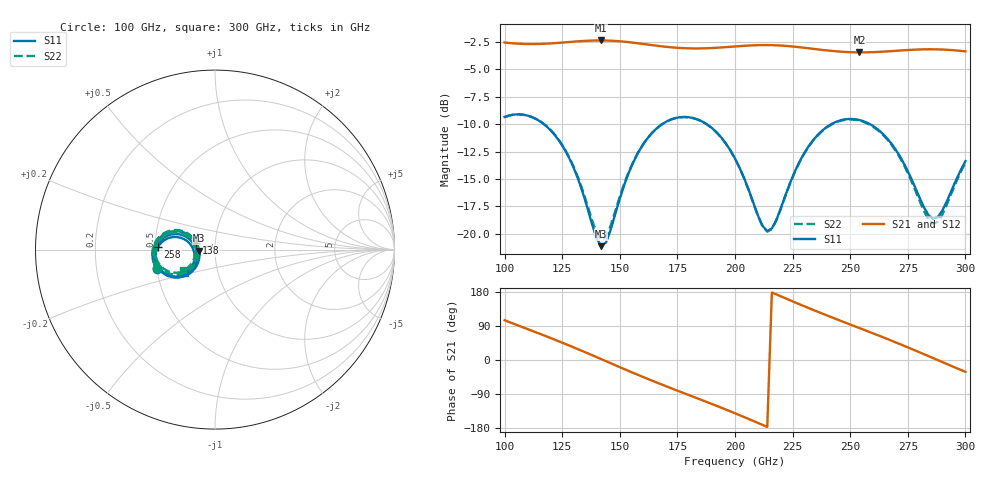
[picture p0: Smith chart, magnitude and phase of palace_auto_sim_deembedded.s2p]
! Created with skrf 1.11.0 (http://scikit-rf.org).
# GHz S DB R 50.0
!freq dBS11 angS11 dBS21 angS21 dBS12 angS12 dBS22 angS22
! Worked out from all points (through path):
!   101 points, 100 GHz to 300 GHz, reference 50 ohm
!   highest |S21| = -2.36 dB at 142 GHz (marker M1); lowest = -3.4 dB at 254 GHz (marker M2)
!   group delay of S21, straight-line fit = 6.89 ps
!   lowest |S11| = -21.1 dB at 142 GHz (marker M3), VSWR 1.19, Z = 41.9 - j0.57 ohm
!   |S11| at or under -10 dB: 117 GHz to 168.4 GHz (51.35 GHz wide, 36 % of centre); 187.8 GHz to 241.8 GHz (54.02 GHz wide, 25.2 % of centre); 258.6 GHz to end of sweep
!   |S22| runs from -20.6 to -9.1 dB; largest |S21 - S12| = 1.3e-13
!   S11 on the Smith chart (normalised r, x): 100 GHz: 0.50, -0.13; 138 GHz: 0.81, +0.06; 258 GHz: 0.52, +0.01; 300 GHz: 0.69, -0.19
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100  -9.34 -161.1  -2.55 104.9  -2.55 104.9  -9.35 -162.9
108  -9.13 -175.7  -2.67 86.2  -2.67 86.2  -9.13 -177.5
118  -10.16 166.8  -2.66 62.7  -2.66 62.7  -10.14 165.1
126  -12.28 155.0  -2.54 43.3  -2.54 43.3  -12.23 153.4
134  -16.30 151.2  -2.41 23.1  -2.41 23.1  -16.12 150.0
138  -19.15 159.8  -2.37 12.7  -2.37 12.7  -18.79 158.6
142  -21.13 -175.6  -2.36 2.2  -2.36 2.2  -20.56 -178.6
146  -19.66 -148.6  -2.38 -8.4  -2.38 -8.4  -19.27 -153.6
154  -14.37 -136.5  -2.52 -29.3  -2.52 -29.3  -14.29 -141.4
168  -10.05 -154.5  -2.89 -64.2  -2.89 -64.2  -10.05 -159.0
184  -9.58 178.7  -3.09 -101.9  -3.09 -101.9  -9.60 174.1
200  -13.13 157.1  -2.91 -140.6  -2.91 -140.6  -13.15 152.3
214  -19.75 -173.7  -2.78 -176.6  -2.78 -176.6  -19.80 -178.7
224  -15.31 -139.6  -2.89 157.3  -2.89 157.3  -15.36 -144.7
234  -11.43 -146.0  -3.13 132.0  -3.13 132.0  -11.47 -151.4
244  -9.77 -160.5  -3.35 107.8  -3.35 107.8  -9.82 -166.2
254  -9.62 -176.2  -3.45 84.3  -3.45 84.3  -9.67 177.8
258  -9.93 177.8  -3.44 74.9  -3.44 74.9  -9.99 171.6
268  -11.80 164.8  -3.33 50.8  -3.33 50.8  -11.90 158.1
278  -15.67 162.8  -3.20 25.7  -3.20 25.7  -15.90 155.5
286  -18.64 -172.0  -3.17 5.0  -3.17 5.0  -19.08 -178.1
300  -13.37 -141.7  -3.36 -31.2  -3.36 -31.2  -13.51 -146.9
